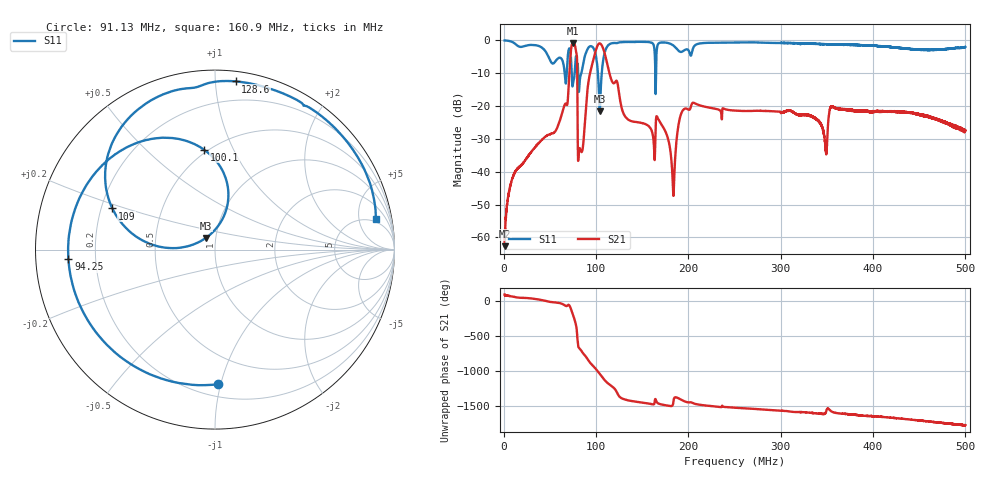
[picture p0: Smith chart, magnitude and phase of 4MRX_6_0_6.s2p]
! NanoVNA-App
! Date: 2026-08-19 14:58:19
! Start: 1MHz Stop: 500MHz Points: 6401
! S-Parameter data: F S11 S21 S12 S22
# Hz S RI R 50
!  Frequency  S11_Real  S11_Imag  S21_Real  S21_Imag  S12_Real  S12_Imag  S22_Real  S22_Imag
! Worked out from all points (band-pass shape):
!   6401 points, 1 MHz to 500 MHz, reference 50 ohm
!   highest |S21| = -0.89 dB at 74.91 MHz (marker M1); lowest = -62.7 dB at 1 MHz (marker M2)
!   |S21| within 3 dB of the highest: 72.61 MHz to 78.86 MHz (6.244 MHz wide, 8.24 % of centre); 98.9 MHz to 109.3 MHz (10.41 MHz wide, 10 % of centre)
!   lowest |S11| = -21.6 dB at 104.1 MHz (marker M3), VSWR 1.18, Z = 44.7 + j5.78 ohm
!   |S11| at or under -10 dB: 73.63 MHz to 76.81 MHz (3.182 MHz wide, 4.23 % of centre); 80.65 MHz to 84.03 MHz (3.377 MHz wide, 4.1 % of centre); 102.1 MHz to 106.2 MHz (4.125 MHz wide, 3.96 % of centre)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
!   S12 and S22 are empty: the file has one direction only
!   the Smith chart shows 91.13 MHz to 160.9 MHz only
!   S11 on the Smith chart (normalised r, x): 91.13 MHz: 0.29, -0.98; 94.25 MHz: 0.10, -0.03; 100.1 MHz: 0.48, +0.78; 109 MHz: 0.25, +0.18; 128.6 MHz: 0.07, +1.13; 160.9 MHz: 4.13, +8.54
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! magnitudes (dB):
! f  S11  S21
! 1 MHz  0.0  -62.7
! 11.92 MHz  -0.9  -40.4
! 59.63 MHz  -5.3  -25.4
! 74.91 MHz  -13.3  -0.9
! 77.33 MHz  -7.7  -1.7
! 84.19 MHz  -9.8  -34.0
! 91.13 MHz  -2.5  -14.0
! 94.25 MHz  -1.7  -9.1
! 100.1 MHz  -5.0  -2.7
! 104.1 MHz  -21.6  -0.9
! 109 MHz  -4.2  -3.6
! 128.6 MHz  -0.5  -21.4
! 160.9 MHz  -0.8  -28.1
! 167.4 MHz  -1.0  -24.0
! 183.4 MHz  -1.5  -46.0
! 194.9 MHz  -3.1  -21.0
! 250.5 MHz  -0.6  -21.4
! 333.7 MHz  -1.0  -23.2
! 348.4 MHz  -1.1  -32.4
! 355.4 MHz  -1.2  -20.3
! 416.9 MHz  -1.9  -21.6
! 500 MHz  -2.0  -27.5
